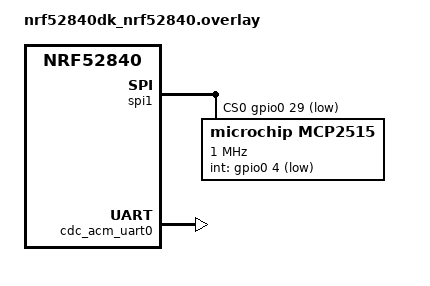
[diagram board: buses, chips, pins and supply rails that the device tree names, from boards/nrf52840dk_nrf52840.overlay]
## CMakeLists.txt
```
# SPDX-License-Identifier: Apache-2.0

cmake_minimum_required(VERSION 3.20.0)

find_package(Zephyr REQUIRED HINTS $ENV{ZEPHYR_BASE})
project(slcan)

FILE(GLOB app_sources src/*.c)
target_sources(app PRIVATE ${app_sources})
```

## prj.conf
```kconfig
CONFIG_LOG=y

CONFIG_CAN=y
CONFIG_CAN_MAX_FILTER=8
CONFIG_CAN_ACCEPT_RTR=y

CONFIG_SERIAL=y
CONFIG_CONSOLE=y
CONFIG_UART_LINE_CTRL=y
CONFIG_UART_INTERRUPT_DRIVEN=y
```

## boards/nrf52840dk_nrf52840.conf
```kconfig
CONFIG_SPI=y
CONFIG_CAN_MCP2515=y
CONFIG_CAN_INIT_PRIORITY=80
```

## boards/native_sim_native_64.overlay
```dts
/*
 * Copyright (c) 2025 Dmitrii Sharshakov <d3dx12.xx@gmail.com>
 *
 * SPDX-License-Identifier: Apache-2.0
 */

/ {
	chosen {
		zephyr,canbus = &can0;
	};
};

&can0 {
	status = "okay";
};

&uart1 {
	status = "okay";
};
```

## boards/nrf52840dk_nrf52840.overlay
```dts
/ {
	chosen {
		zephyr,canbus = &mcp2515;
	};
};

&pinctrl {
	spi1_default: spi1_default {
		group1 {
			psels = <NRF_PSEL(SPIM_SCK, 0, 31)>,
				<NRF_PSEL(SPIM_MOSI, 0, 30)>;
		};
		group2 {
			psels = <NRF_PSEL(SPIM_MISO, 1, 8)>;
			bias-pull-up;
		};
	};

	spi1_sleep: spi1_sleep {
		group1 {
			psels = <NRF_PSEL(SPIM_SCK, 0, 31)>,
			        <NRF_PSEL(SPIM_MOSI, 0, 30)>,
			        <NRF_PSEL(SPIM_MISO, 1, 8)>;
			low-power-enable;
		};
	};
};

&spi1 {
	compatible = "nordic,nrf-spi";
	status = "okay";
	cs-gpios = <&gpio0 29  (GPIO_ACTIVE_LOW | GPIO_PULL_UP)>;

	mcp2515: can@0 {
		compatible = "microchip,mcp2515";
		spi-max-frequency = <1000000>;
		int-gpios = <&gpio0 4 (GPIO_ACTIVE_LOW | GPIO_PULL_UP)>;
		status = "okay";
		reg = <0>;
		#address-cells = <1>;
		#size-cells = <0>;
		bus-speed = <500000>;
		osc-freq = <16000000>;
		sjw = <1>;
		prop-seg = <3>;
		phase-seg1 = <2>;
		phase-seg2 = <2>;
	};
};

&qspi {
	status = "disabled";
};

&zephyr_udc0 {
	cdc_acm_uart0: cdc_acm_uart0 {
		compatible = "zephyr,cdc-acm-uart";
	};
};
```

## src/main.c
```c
/*
 * Copyright (c) 2022 Martin Jäger <martin@libre.solar>
 *
 * SPDX-License-Identifier: Apache-2.0
 */

#include <zephyr/kernel.h>

int main(void)
{
	/* Nothing here. SLCAN starts automatically in the background. */

	return 0;
}
```

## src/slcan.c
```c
/*
 * Copyright (c) 2022 Martin Jäger <martin@libre.solar>
 *
 * SPDX-License-Identifier: Apache-2.0
 */

#include <zephyr/device.h>
#include <zephyr/devicetree.h>
#include <zephyr/drivers/can.h>
#include <zephyr/drivers/uart.h>
#include <zephyr/kernel.h>
#include <zephyr/logging/log.h>
#include <zephyr/sys/byteorder.h>

#include <string.h>

// LOG_MODULE_REGISTER(slcan, CONFIG_LOG_DEFAULT_LEVEL);
LOG_MODULE_REGISTER(slcan, LOG_LEVEL_DBG);

#define CAN_NODE    DT_CHOSEN(zephyr_canbus)
#define SERIAL_NODE DT_NODELABEL(uart1)

#define CAN_TX_QUEUE_SIZE 3

/* message with extended ID, 8 bytes payload and timestamp (last 4 bytes) */
#define SLCAN_MTU (sizeof("Tiiiiiiiilddddddddddddddddssss"))

#define CANBUS_RX_THREAD_STACK_SIZE 3000
#define SERIAL_RX_THREAD_STACK_SIZE 3000
#define SLCAN_THREAD_PRIORITY       3

/* queue to store up to 10 messages (aligned to 4-byte boundary) */
K_MSGQ_DEFINE(serial_rx_msgq, SLCAN_MTU, 10, 4);

CAN_MSGQ_DEFINE(can_rx_msgq, 3);

K_THREAD_STACK_DEFINE(canbus_thread_stack, CANBUS_RX_THREAD_STACK_SIZE);
K_THREAD_STACK_DEFINE(serial_thread_stack, SERIAL_RX_THREAD_STACK_SIZE);

static struct k_thread canbus_thread_data;
static struct k_thread serial_thread_data;

static const struct device *const can_dev = DEVICE_DT_GET(CAN_NODE);
// static const struct device *const hci_uart_dev =
// 	DEVICE_DT_GET(DT_CHOSEN(zephyr_bt_c2h_uart));
static const struct device *const serial_dev = DEVICE_DT_GET(SERIAL_NODE);

static struct k_sem serial_tx_sem;

/* receive buffer used in serial ISR callback */
static char rx_buf[SLCAN_MTU];
static int rx_buf_pos;

static struct {
	bool can_initiated;
	bool can_open;
} slcan;

/*
 * Read characters from UART until line end (only CR for SLCAN) is detected. Afterwards push the
 * data to the message queue.
 */
static void serial_rx_callback(const struct device *dev, void *user_data)
{
	uint8_t c;

	if (!uart_irq_update(dev)) {
		return;
	}

	while (uart_irq_rx_ready(dev)) {

		uart_fifo_read(dev, &c, 1);

		if (c == '\r' || c == '\n') {
			if (rx_buf_pos > 0) {
				/* terminate string */
				rx_buf[rx_buf_pos] = '\0';

				/* copy the message to the queue (or drop if queue is full) */
				k_msgq_put(&serial_rx_msgq, &rx_buf, K_NO_WAIT);
			}
			rx_buf_pos = 0;
		} else if (rx_buf_pos < (sizeof(rx_buf) - 1)) {
			rx_buf[rx_buf_pos++] = c;
		}
		/* else: characters beyond buffer size are dropped */
	}
}

static void slcan_serial_print(const char *buf, size_t len)
{
	k_sem_take(&serial_tx_sem, K_FOREVER);

	for (int i = 0; i < len; i++) {
		uart_poll_out(serial_dev, buf[i]);
	}

	k_sem_give(&serial_tx_sem);
}

static void slcan_can_tx_cb(const struct device *dev, int error, void *user_data)
{
	if (error != 0) {
		LOG_ERR("Sending CAN frame failed: %d", error);
	}
}

/*
 * Hex characters have to be upper-case, so we can't use Zephyr's bin2hex().
 */
static void buf_append_hex(char *dest, const uint8_t *src, size_t src_bytes)
{
	static const char nibble2char[16] = "0123456789ABCDEF";

	for (int i = 0; i < src_bytes; i++) {
		dest[i * 2] = nibble2char[(src[i] >> 4) & 0xF];
		dest[i * 2 + 1] = nibble2char[src[i] & 0xF];
	}
}

static int slcan_parse_send_cmd(char *buf, size_t size, struct can_frame *frame)
{
	uint8_t can_id[4];
	bool rtr = (buf[0] == 'R' || buf[0] == 'r');

	memset(frame, 0, sizeof(*frame));

	frame->flags = rtr ? CAN_FRAME_RTR : 0;

	if (buf[0] == 'R' || buf[0] == 'T') {
		if (size < 10) {
			LOG_ERR("Invalid SLCAN send command");
			return -EINVAL;
		}

		hex2bin(&buf[1], 8, can_id, 4);
		frame->id = sys_get_be32(can_id);
		frame->flags |= CAN_FRAME_IDE;

		frame->dlc = buf[9] - '0';

		if (rtr) {
			return 0;
		}

		if (size < 10 + frame->dlc * 2 || frame->dlc > 8) {
			LOG_ERR("Invalid DLC or frame too short");
			return -EINVAL;
		}

		hex2bin(&buf[10], frame->dlc * 2, frame->data, frame->dlc);
	} else {
		if (size < 5) {
			LOG_ERR("Invalid SLCAN send command");
			return -EINVAL;
		}

		buf[0] = '0'; /* add leading 0 to 3-digit ID for proper conversion */
		hex2bin(&buf[0], 4, can_id, 2);
		frame->id = sys_get_be16(can_id);

		frame->dlc = buf[4] - '0';

		if (rtr) {
			return 0;
		}

		if (size < 5 + frame->dlc * 2 || frame->dlc > 8) {
			LOG_ERR("Invalid DLC or frame too short");
			return -EINVAL;
		}

		hex2bin(&buf[5], frame->dlc * 2, frame->data, frame->dlc);
	}

	return 0;
}

static int slcan_serialize(struct can_frame *frame, char *buf)
{
	uint8_t can_id[4];
	int pos = 0;

	/* Only supports extended and remote frames */
	if ((frame->flags & ~(CAN_FRAME_IDE | CAN_FRAME_RTR)) != 0 || frame->dlc > 8) {
		LOG_ERR("Unsupported CAN frame type received");
		return -EINVAL;
	}

	sys_put_be32(frame->id, can_id);

	/* CAN ID */
	if ((frame->flags & CAN_FRAME_IDE) == 0) {
		buf_append_hex(buf, can_id + 2, 2);
		/* overwrite first digit for correct 3-digit standard ID encoding */
		buf[0] = (frame->flags & CAN_FRAME_RTR) ? 'r' : 't';
		pos = 1 + 3;
	} else {
		buf[0] = (frame->flags & CAN_FRAME_RTR) ? 'R' : 'T';
		buf_append_hex(buf + 1, can_id, 4);
		pos = 1 + 8;
	}

	/* Data length */
	buf[pos++] = '0' + frame->dlc;

	/* Data bytes */
	buf_append_hex(buf + pos, frame->data, frame->dlc);
	pos += frame->dlc * 2;

	/* Message end */
	buf[pos++] = '\r';

	return pos;
}

static int slcan_setup_cmd(char *buf, size_t size)
{
	int err = -EINVAL;

	if (size < 2) {
		LOG_ERR("Invalid SLCAN setup command");
		return err;
	}

	switch (buf[1]) {
	case '0':
		err = can_set_bitrate(can_dev, KHZ(10));
		break;
	case '1':
		err = can_set_bitrate(can_dev, KHZ(20));
		break;
	case '2':
		err = can_set_bitrate(can_dev, KHZ(50));
		break;
	case '3':
		err = can_set_bitrate(can_dev, KHZ(100));
		break;
	case '4':
		err = can_set_bitrate(can_dev, KHZ(125));
		break;
	case '5':
		err = can_set_bitrate(can_dev, KHZ(250));
		break;
	case '6':
		err = can_set_bitrate(can_dev, KHZ(500));
		break;
	case '7':
		err = can_set_bitrate(can_dev, KHZ(800));
		break;
	case '8':
		err = can_set_bitrate(can_dev, MHZ(1));
		break;
	default:
		LOG_ERR("Unsupported CAN bitrate");
		break;
	}

	if (err == 0) {
		slcan.can_initiated = true;
		LOG_INF("CAN initialized");
	} else {
		LOG_ERR("Failed to initialze CAN: %d", err);
	}

	return err;
}

static int slcan_serial_process(char *buf, size_t size)
{
	int err;
	struct can_frame frame = {0};

	LOG_HEXDUMP_DBG(buf, size, "Serial message");

	if (size == 0) {
		return -EINVAL;
	}

	switch (buf[0]) {
	case 'S':
		/* Setup with standard CAN bit-rates */
		return slcan_setup_cmd(buf, size);
	case 's':
		/* Setup with custom CAN bit-rates (not implemented) */
		return -ENOSYS;
	case 'O':
		/* Open the CAN channel */
		if (slcan.can_initiated && !slcan.can_open) {
			err = can_start(can_dev);
			if (err == 0) {
				slcan.can_open = true;
				LOG_INF("CAN started");
			} else {
				LOG_ERR("Failed to start CAN: %d", err);
			}

			return err;
		} else if (slcan.can_initiated) {
			LOG_INF("CAN already started");
			return 0;
		}

		LOG_ERR("CAN bitrate must be set before opening");
		return -ENETDOWN;
	case 'C':
		/* Close the CAN channel */
		if (!slcan.can_open) {
			LOG_INF("CAN already stopped");
			return 0;
		}

		err = can_stop(can_dev);
		if (err == 0) {
			slcan.can_open = false;
			LOG_INF("CAN stopped");
		} else {
			LOG_ERR("Failed to stop CAN: %d", err);
		}

		return err;
	/* Transmitting frames or RTRs to the bus */
	case 't':
	case 'T':
	case 'r':
	case 'R':
		if (!slcan.can_open) {
			LOG_WRN("CAN not open, cannot send");
			return -ENETDOWN;
		}

		err = slcan_parse_send_cmd(buf, size, &frame);
		if (err != 0) {
			return err;
		}

		LOG_DBG("Sending CAN message with ID 0x%X, RTR %d, %d bytes: %.2X %.2X %.2X %.2X "
			"%.2X %.2X %.2X %.2X",
			frame.id, (frame.flags & CAN_FRAME_RTR) != 0, frame.dlc, frame.data[0],
			frame.data[1], frame.data[2], frame.data[3], frame.data[4], frame.data[5],
			frame.data[6], frame.data[7]);

		return can_send(can_dev, &frame, K_MSEC(10), slcan_can_tx_cb, NULL);
	case 'F':
		/* Read Status Flags */
		if (!slcan.can_open) {
			return -ENETDOWN;
		}

		uint8_t resp[4] = {'F'};
		uint8_t slcan_status = 0;
		enum can_state state;

		can_get_state(can_dev, &state, NULL);
		switch (state) {
		case CAN_STATE_ERROR_WARNING:
			slcan_status |= BIT(2);
			break;
		case CAN_STATE_ERROR_PASSIVE:
			slcan_status |= BIT(5);
			break;
		case CAN_STATE_BUS_OFF:
			slcan_status |= BIT(7);
			break;
		default:
			slcan_status = 0;
		}
		if (bin2hex(&slcan_status, 1, resp + 1, 2) > 0) {
			resp[3] = '\r';
			slcan_serial_print(resp, 4);
		}

		return 0;
	case 'M':
	case 'm':
		/*
		 * Hardware filtering not implemented because of flawed protocol: You can not
		 * specify the filtering mode (standard or extended frame) using the
		 * SJA1000-compatible register. Leaving filtering to the host side.
		 */
		return -ENOSYS;
	case 'V':
		/* Get Version number of both CANUSB hardware and software (dummy response) */
		slcan_serial_print("V0000\r", 6);
		return 0;
	case 'N':
		/* Get Serial number of the CANUSB (dummy response) */
		slcan_serial_print("N0000\r", 6);
		return 0;
	default:
		LOG_WRN("Unsupported SLCAN command: %c", buf[0]);
		return -ENOSYS;
	}
}

static int slcan_canbus_process(struct can_frame *frame)
{
	char buf[SLCAN_MTU];
	int pos;

	LOG_DBG("CAN message with ID 0x%X, RTR %d, %d bytes: %.2X %.2X %.2X %.2X %.2X %.2X %.2X "
		"%.2X",
		frame->id, (frame->flags & CAN_FRAME_RTR) != 0, frame->dlc, frame->data[0],
		frame->data[1], frame->data[2], frame->data[3], frame->data[4], frame->data[5],
		frame->data[6], frame->data[7]);

	pos = slcan_serialize(frame, buf);
	if (pos < 0) {
		return pos;
	}

	slcan_serial_print(buf, pos);

	return 0;
}

static void slcan_serial_thread(void *arg1, void *arg2, void *arg3)
{
	char buf[SLCAN_MTU];
	int err;

	uart_irq_callback_set(serial_dev, serial_rx_callback);
	uart_irq_rx_enable(serial_dev);

	while (k_msgq_get(&serial_rx_msgq, &buf, K_FOREVER) == 0) {
		err = slcan_serial_process(buf, strlen(buf));

		if (err == 0) {
			/* respond with CR for OK */
			slcan_serial_print("\r", 1);
		} else {
			/* respond with BELL for error */
			slcan_serial_print("\a", 1);
			LOG_ERR("Serial processing error: %d", err);
		}
	}
}

static void slcan_canbus_thread(void *arg1, void *arg2, void *arg3)
{
	struct can_filter filter = {0};
	struct can_frame rx_frame;

	can_add_rx_filter_msgq(can_dev, &can_rx_msgq, &filter);

	filter.flags = CAN_FILTER_IDE;
	can_add_rx_filter_msgq(can_dev, &can_rx_msgq, &filter);

	while (k_msgq_get(&can_rx_msgq, &rx_frame, K_FOREVER) == 0) {
		slcan_canbus_process(&rx_frame);
	}
}

static int slcan_init(void)
{
	k_sem_init(&serial_tx_sem, 1, 1);

	if (!device_is_ready(can_dev)) {
		LOG_ERR("CAN device not ready");
		return -ENODEV;
	}

	if (!device_is_ready(serial_dev)) {
		LOG_ERR("Serial device not ready");
		return -ENODEV;
	}

	k_thread_create(&canbus_thread_data, canbus_thread_stack,
			K_THREAD_STACK_SIZEOF(canbus_thread_stack), slcan_canbus_thread, NULL, NULL,
			NULL, SLCAN_THREAD_PRIORITY, 0, K_NO_WAIT);

	k_thread_create(&serial_thread_data, serial_thread_stack,
			K_THREAD_STACK_SIZEOF(serial_thread_stack), slcan_serial_thread, NULL, NULL,
			NULL, SLCAN_THREAD_PRIORITY, 0, K_NO_WAIT);

	return 0;
}

SYS_INIT(slcan_init, APPLICATION, CONFIG_KERNEL_INIT_PRIORITY_DEFAULT);
```
